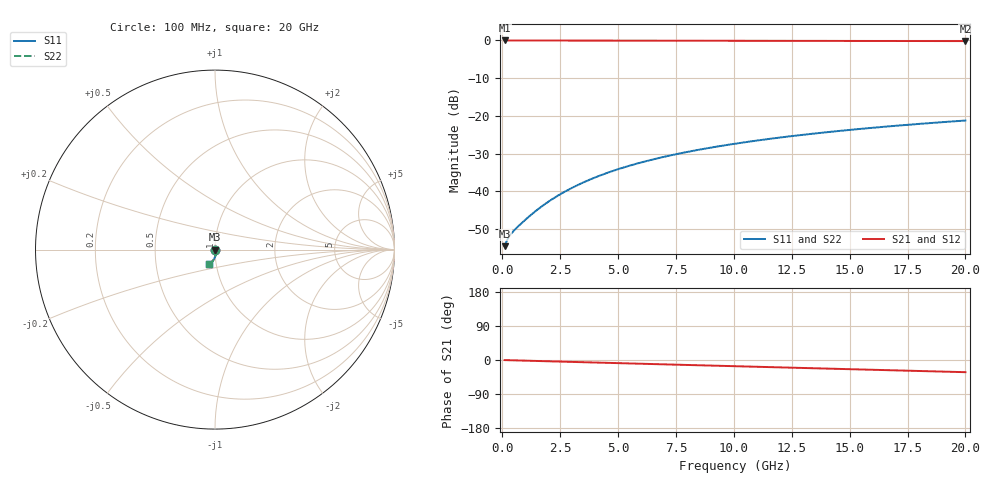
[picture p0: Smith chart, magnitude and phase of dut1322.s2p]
! Touchstone file exported from HFSS 2026.1.0
!  File:  C:/ffzhzh/LocalFiles/Ansys_Project_Files/temp_train_TMRDL_1322_1783165046_22436.aedt
!  Generated:  07:38:31 PM Jul  4, 2026
!  Design:  TMRDL
!  Project:  temp_train_TMRDL_1322_1783165046_22436
! Variables:
!  h_bsmrdl = 2um
!  h_ox = 20um
!  h_rdl = 5um
!  h_sub = 80um
!  h_tmrdl = 5.65um
!  h_tsv = 80um
!  h_via = 3um
!  l_bsmrdl = 300um
!  l_sub = 972.06um
!  l_tmrdl = 572.06um
!  m_sub = 200um
!  pitch = 26.7um
!  r_tsv = 6um
!  s_tmrdl = 10um
!  w_bsmrdl = 18um
!  w_sub = 500um
!  w_tmrdl = 22.87um
!  x_tsv_center1 = 583.495um
!  x_tsv_center2 = 901.495um
!  x_tsv_center3 = 1496.425um
!  x_tsv_center4 = 1814.425um
!  x_tsv_center5 = 2409.355um
!  x_tsv_center6 = 2727.355um
# GHz S MA R 50.000000
! Terminal data exported
! Port[1] = TM_RDL1_1_T1
! Port[2] = TM_RDL1_1_T2
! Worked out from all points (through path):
!   200 points, 100 MHz to 20 GHz, reference 50 ohm
!   highest |S21| = -0.02 dB at 100 MHz (marker M1); lowest = -0.2 dB at 20 GHz (marker M2)
!   group delay of S21, straight-line fit = 4.44 ps
!   lowest |S11| = -54.5 dB at 100 MHz (marker M3), VSWR 1.00, Z = 50.2 + j0.02 ohm
!   |S11| at or under -10 dB: start of sweep to end of sweep
!   |S22| runs from -54.5 to -21.2 dB; largest |S21 - S12| = 5.1e-15
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0.1  0.00188 6.1  0.9981 -0.2  0.9981 -0.2  0.00188 6.1
! Gamma 0 0 0 0
! Port Impedance 50 0 50 0
0.2  0.002239 3.0  0.9978 -0.4  0.9978 -0.4  0.002239 3.0
0.3  0.002543 -3.7  0.9975 -0.6  0.9975 -0.6  0.002542 -3.8
0.4  0.002793 -10.7  0.9972 -0.7  0.9972 -0.7  0.002792 -10.7
0.6  0.003243 -22.7  0.997 -1.1  0.997 -1.1  0.003241 -22.7
0.8  0.003709 -31.9  0.9968 -1.4  0.9968 -1.4  0.003707 -31.9
1.4  0.005361 -48.7  0.9963 -2.4  0.9963 -2.4  0.005357 -48.8
1.9  0.006982 -56.3  0.9958 -3.2  0.9958 -3.2  0.006978 -56.4
2.4  0.008772 -61.3  0.9952 -4.1  0.9952 -4.1  0.008767 -61.4
2.9  0.01069 -65.0  0.9946 -4.9  0.9946 -4.9  0.01069 -65.1
3.5  0.01314 -68.6  0.9939 -5.9  0.9939 -5.9  0.01313 -68.6
4.2  0.01612 -72.0  0.9931 -7.0  0.9931 -7.0  0.01612 -72.1
5  0.01966 -75.4  0.9922 -8.3  0.9922 -8.3  0.01965 -75.5
5.9  0.02372 -78.7  0.9912 -9.8  0.9912 -9.8  0.02371 -78.8
6.8  0.02784 -81.7  0.9903 -11.2  0.9903 -11.2  0.02783 -81.8
8.3  0.03474 -86.2  0.9889 -13.6  0.9889 -13.6  0.03472 -86.3
10.1  0.04302 -90.9  0.9874 -16.5  0.9874 -16.5  0.043 -91.0
11.7  0.05034 -94.6  0.986 -19.0  0.986 -19.0  0.05031 -94.8
13.4  0.05804 -98.3  0.9846 -21.7  0.9846 -21.7  0.058 -98.5
15  0.0652 -101.6  0.9832 -24.3  0.9832 -24.3  0.06516 -101.8
16.7  0.07269 -105.0  0.9818 -27.0  0.9818 -27.0  0.07264 -105.2
20  0.08677 -111.2  0.9789 -32.2  0.9789 -32.2  0.08672 -111.5
